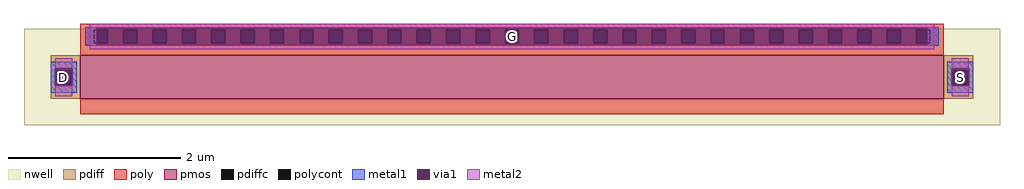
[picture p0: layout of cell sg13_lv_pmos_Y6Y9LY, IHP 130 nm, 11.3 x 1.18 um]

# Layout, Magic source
magic
tech ihp-sg13g2
magscale 1 2
<< nwell >>
rect -1130 -131 1130 93
<< pmos >>
rect -1000 -69 1000 31
<< pdiff >>
rect -1068 -3 -1000 31
rect -1068 -35 -1054 -3
rect -1022 -35 -1000 -3
rect -1068 -69 -1000 -35
rect 1000 -3 1068 31
rect 1000 -35 1022 -3
rect 1054 -35 1068 -3
rect 1000 -69 1068 -35
<< pdiffc >>
rect -1054 -35 -1022 -3
rect 1022 -35 1054 -3
<< poly >>
rect -1000 91 1000 105
rect -1000 59 -968 91
rect -936 59 -900 91
rect -868 59 -832 91
rect -800 59 -764 91
rect -732 59 -696 91
rect -664 59 -628 91
rect -596 59 -560 91
rect -528 59 -492 91
rect -460 59 -424 91
rect -392 59 -356 91
rect -324 59 -288 91
rect -256 59 -220 91
rect -188 59 -152 91
rect -120 59 -84 91
rect -52 59 -16 91
rect 16 59 52 91
rect 84 59 120 91
rect 152 59 188 91
rect 220 59 256 91
rect 288 59 324 91
rect 356 59 392 91
rect 424 59 460 91
rect 492 59 528 91
rect 560 59 596 91
rect 628 59 664 91
rect 696 59 732 91
rect 764 59 800 91
rect 832 59 868 91
rect 900 59 936 91
rect 968 59 1000 91
rect -1000 31 1000 59
rect -1000 -105 1000 -69
<< polycont >>
rect -968 59 -936 91
rect -900 59 -868 91
rect -832 59 -800 91
rect -764 59 -732 91
rect -696 59 -664 91
rect -628 59 -596 91
rect -560 59 -528 91
rect -492 59 -460 91
rect -424 59 -392 91
rect -356 59 -324 91
rect -288 59 -256 91
rect -220 59 -188 91
rect -152 59 -120 91
rect -84 59 -52 91
rect -16 59 16 91
rect 52 59 84 91
rect 120 59 152 91
rect 188 59 220 91
rect 256 59 288 91
rect 324 59 356 91
rect 392 59 424 91
rect 460 59 492 91
rect 528 59 560 91
rect 596 59 628 91
rect 664 59 696 91
rect 732 59 764 91
rect 800 59 832 91
rect 868 59 900 91
rect 936 59 968 91
<< metal1 >>
rect -988 95 988 96
rect -988 91 -963 95
rect 963 91 988 95
rect -988 59 -968 91
rect 968 59 988 91
rect -988 55 -963 59
rect 963 55 988 59
rect -988 54 988 55
rect -1068 1 -1008 17
rect -1068 -39 -1058 1
rect -1018 -39 -1008 1
rect -1068 -55 -1008 -39
rect 1008 1 1068 17
rect 1008 -39 1018 1
rect 1058 -39 1068 1
rect 1008 -55 1068 -39
<< via1 >>
rect -963 91 963 95
rect -963 59 -936 91
rect -936 59 -900 91
rect -900 59 -868 91
rect -868 59 -832 91
rect -832 59 -800 91
rect -800 59 -764 91
rect -764 59 -732 91
rect -732 59 -696 91
rect -696 59 -664 91
rect -664 59 -628 91
rect -628 59 -596 91
rect -596 59 -560 91
rect -560 59 -528 91
rect -528 59 -492 91
rect -492 59 -460 91
rect -460 59 -424 91
rect -424 59 -392 91
rect -392 59 -356 91
rect -356 59 -324 91
rect -324 59 -288 91
rect -288 59 -256 91
rect -256 59 -220 91
rect -220 59 -188 91
rect -188 59 -152 91
rect -152 59 -120 91
rect -120 59 -84 91
rect -84 59 -52 91
rect -52 59 -16 91
rect -16 59 16 91
rect 16 59 52 91
rect 52 59 84 91
rect 84 59 120 91
rect 120 59 152 91
rect 152 59 188 91
rect 188 59 220 91
rect 220 59 256 91
rect 256 59 288 91
rect 288 59 324 91
rect 324 59 356 91
rect 356 59 392 91
rect 392 59 424 91
rect 424 59 460 91
rect 460 59 492 91
rect 492 59 528 91
rect 528 59 560 91
rect 560 59 596 91
rect 596 59 628 91
rect 628 59 664 91
rect 664 59 696 91
rect 696 59 732 91
rect 732 59 764 91
rect 764 59 800 91
rect 800 59 832 91
rect 832 59 868 91
rect 868 59 900 91
rect 900 59 936 91
rect 936 59 963 91
rect -963 55 963 59
rect -1058 -3 -1018 1
rect -1058 -35 -1054 -3
rect -1054 -35 -1022 -3
rect -1022 -35 -1018 -3
rect -1058 -39 -1018 -35
rect 1018 -3 1058 1
rect 1018 -35 1022 -3
rect 1022 -35 1054 -3
rect 1054 -35 1058 -3
rect 1018 -39 1058 -35
<< metal2 >>
rect -978 95 978 104
rect -978 55 -963 95
rect 963 55 978 95
rect -978 46 978 55
rect -1058 1 -1018 25
rect -1058 -63 -1018 -39
rect 1018 1 1058 25
rect 1018 -63 1058 -39
<< labels >>
rlabel metal1 s -1038 -19 -1038 -19 4 D
rlabel metal1 s 1038 -19 1038 -19 4 S
rlabel metal1 s 0 75 0 75 4 G
<< end >>
